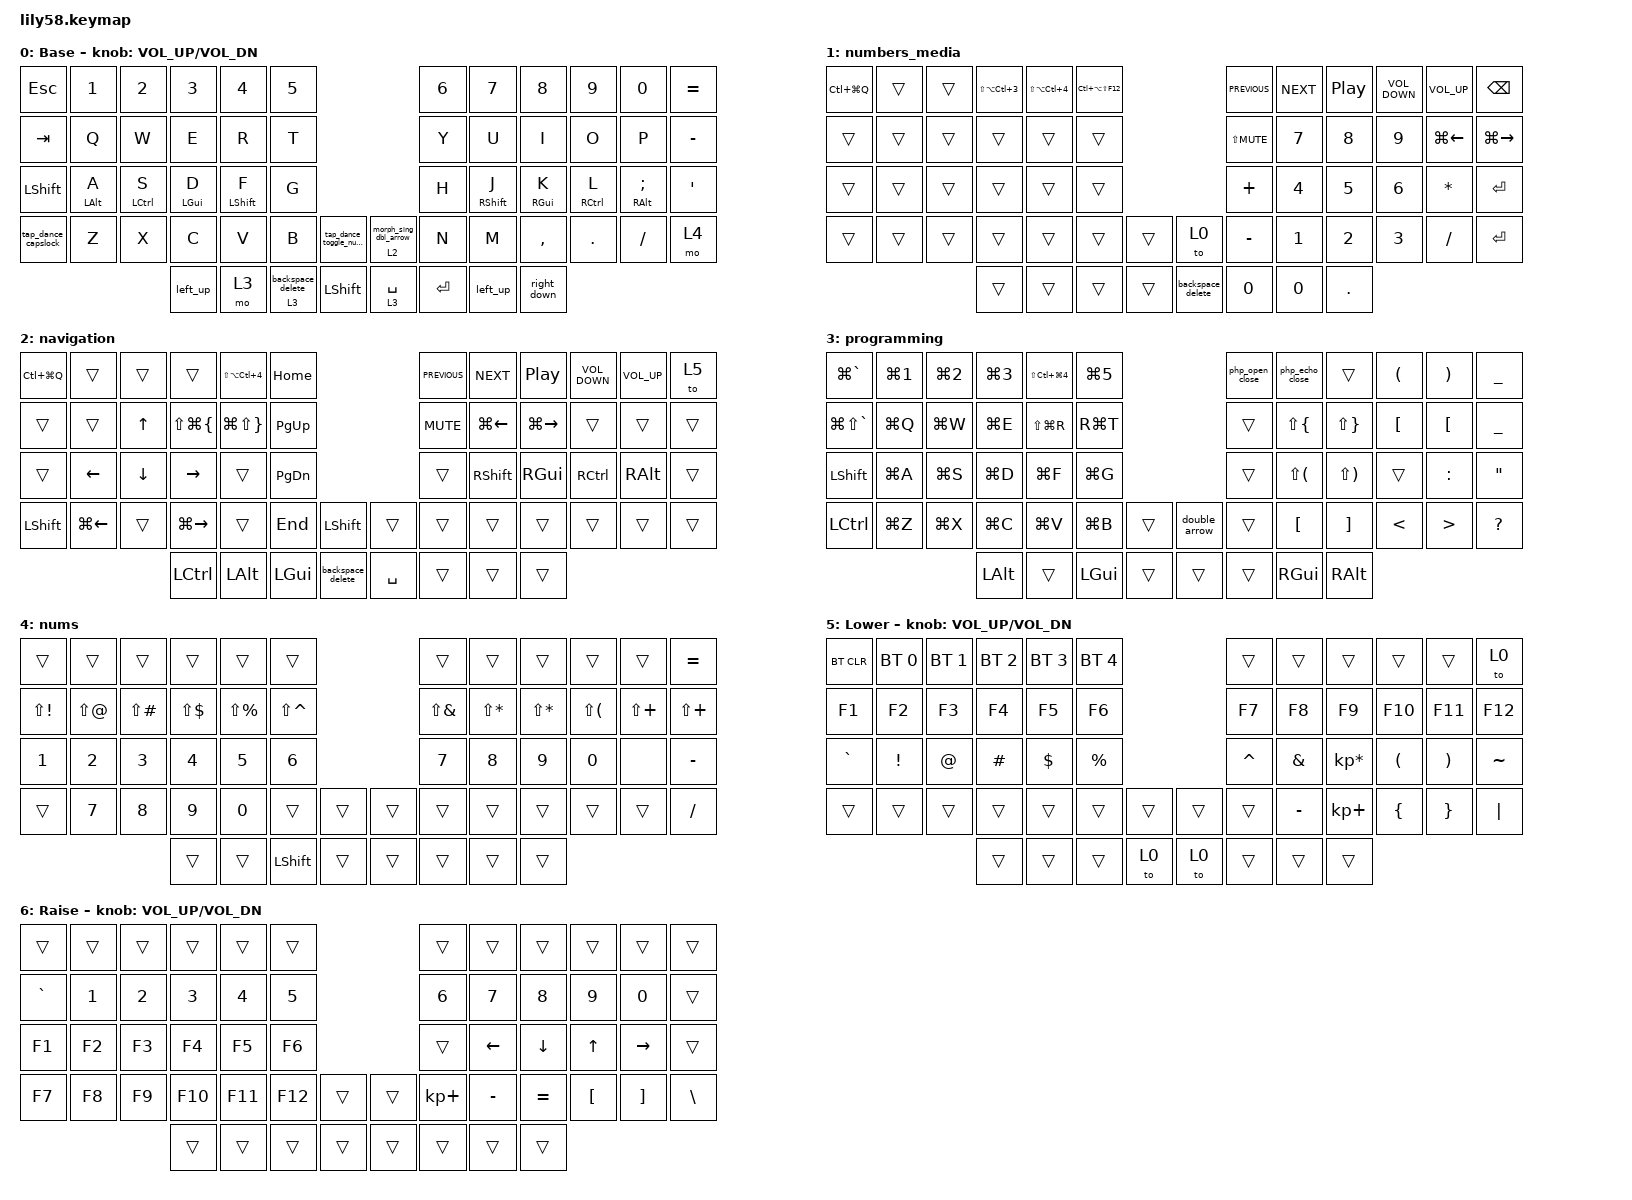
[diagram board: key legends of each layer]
/*
 * Copyright (c) 2020 The ZMK Contributors
 *
 * SPDX-License-Identifier: MIT
 */

#include <behaviors.dtsi>
#include <dt-bindings/zmk/bt.h>
#include <dt-bindings/zmk/keys.h>

&sk {
    release-after-ms = <600>;
    quick-release;
};

&caps_word { continue-list = <UNDERSCORE BACKSPACE DELETE MINUS>; };

&sl {
    release-after-ms = <600>;

    /delete-property/ quick-release;
};

/ {
    macros {
        php_open: php_open {
            compatible = "zmk,behavior-macro";
            #binding-cells = <0>;
            bindings = <&kp LT &kp QMARK &kp P &kp H &kp P &kp RET>;
            label = "PHP_OPEN";
        };

        single_arrow: single_arrow {
            compatible = "zmk,behavior-macro";
            #binding-cells = <0>;
            bindings = <&kp MINUS &kp GT>;
            label = "SINGLE_ARROW";
        };

        double_arrow: double_arrow {
            compatible = "zmk,behavior-macro";
            #binding-cells = <0>;
            bindings = <&kp EQUAL &kp GT>;
            label = "DOUBLE_ARROW";
        };

        function: function {
            compatible = "zmk,behavior-macro";
            #binding-cells = <0>;
            bindings = <&kp F &kp U &kp N &kp C &kp T &kp I &kp O &kp N &kp LPAR &kp RPAR &kp LEFT_ARROW>;
            label = "FUNCTION";
        };

        php_echo: php_echo {
            compatible = "zmk,behavior-macro";
            #binding-cells = <0>;
            bindings = <&kp LT &kp QMARK &kp EQUAL &kp SPACE>;
            label = "PHP_ECHO";
        };

        php_close: php_close {
            compatible = "zmk,behavior-macro";
            #binding-cells = <0>;
            bindings = <&kp QMARK &kp GT>;
            label = "PHP_CLOSE";
        };

        template_output: template_output {
            compatible = "zmk,behavior-macro";
            #binding-cells = <0>;
            bindings = <&kp LEFT_BRACE &kp LEFT_BRACE &kp SPACE &kp SPACE &kp RBRC &kp RBRC &kp LEFT_ARROW &kp LEFT_ARROW &kp LEFT>;
            label = "TEMPLATE_OUTPUT";
        };
    };

    combos {
        compatible = "zmk,combos";

        tilde_grave {
            bindings = <&kp GRAVE>;
            key-positions = <0 1>;
            layers = <0>;
        };

        lh_backspace_delete {
            bindings = <&backspace_delete>;
            key-positions = <10 11>;
            layers = <0>;
        };

        lh_6 {
            bindings = <&kp NUMBER_6>;
            key-positions = <17 29>;
            layers = <0>;
        };

        rh_close_curly_brackets {
            bindings = <&kp RIGHT_BRACE>;
            key-positions = <>;
        };

        rh_close_paren {
            bindings = <&kp RIGHT_PARENTHESIS>;
            key-positions = <>;
        };

        rh_close_sqr_bracket {
            bindings = <&kp RIGHT_BRACKET>;
            key-positions = <>;
        };

        rh_caret {
            bindings = <&kp CARET>;
            key-positions = <18 30>;
        };

        lh_dollar {
            bindings = <&kp DLLR>;
            key-positions = <16 28>;
        };

        backslash_pipe {
            bindings = <&kp BACKSLASH>;
            key-positions = <23 35>;
        };

        pcnt {
            bindings = <&kp PERCENT>;
            key-positions = <29 17>;
        };

        lh_open_sqr_bracket {
            bindings = <&kp LEFT_BRACKET>;
            key-positions = <>;
        };

        lh_open_paren {
            bindings = <&kp LEFT_PARENTHESIS>;
            key-positions = <>;
        };

        lh_open_curly_bracket {
            bindings = <&kp LEFT_BRACE>;
            key-positions = <>;
        };
    };

    behaviors {
        leftHand_hr_mt: leftHand_hr_mt {
            compatible = "zmk,behavior-hold-tap";
            label = "LEFTHAND_HR_MT";
            bindings = <&kp>, <&kp>;

            #binding-cells = <2>;
            tapping-term-ms = <225>;
            quick-tap-ms = <225>;
            flavor = "balanced";
            hold-trigger-key-positions = <6 18 30 44 43 54 55 56 57 7 8 9 19 20 21 31 32 33 45 46 47 10 11 22 23 34 35 48 49>;
            hold-trigger-on-release;
            require-prior-idle-ms = <185>;
        };

        rightHand_hr_mt: rightHand_hr_mt {
            compatible = "zmk,behavior-hold-tap";
            label = "RIGHTHAND_HR_MT";
            bindings = <&kp>, <&kp>;

            #binding-cells = <2>;
            tapping-term-ms = <225>;
            quick-tap-ms = <225>;
            flavor = "balanced";
            hold-trigger-on-release;
            require-prior-idle-ms = <185>;
            hold-trigger-key-positions = <0 1 2 3 4 5 12 13 14 15 16 17 24 25 26 27 28 29 36 37 38 39 40 41 42 50 51 52 53>;
        };

        leftHand_hr_mt_shift: leftHand_hr_mt_shift {
            compatible = "zmk,behavior-hold-tap";
            label = "LEFTHAND_HR_MT_SHIFT";
            bindings = <&kp>, <&kp>;

            #binding-cells = <2>;
            tapping-term-ms = <265>;
            quick-tap-ms = <200>;
            flavor = "balanced";
            hold-trigger-key-positions = <6 18 30 44 43 54 55 56 57 7 8 9 19 20 21 31 32 33 45 46 47 10 11 22 23 34 35 48 49>;
            hold-trigger-on-release;
            require-prior-idle-ms = <115>;
        };

        rightHand_hr_mt_shift: rightHand_hr_mt_shift {
            compatible = "zmk,behavior-hold-tap";
            label = "RIGHTHAND_HR_MT_SHIFT";
            bindings = <&kp>, <&kp>;

            #binding-cells = <2>;
            tapping-term-ms = <165>;
            quick-tap-ms = <200>;
            flavor = "balanced";
            hold-trigger-on-release;
            require-prior-idle-ms = <115>;
            hold-trigger-key-positions = <0 1 2 3 4 5 12 13 14 15 16 17 24 25 26 27 28 29 36 37 38 39 40 41 42 50 51 52 53>;
        };

        backspace_delete: backspace_delete {
            compatible = "zmk,behavior-mod-morph";
            label = "BACKSPACE_DELETE";
            bindings = <&kp BACKSPACE>, <&kp DELETE>;

            #binding-cells = <0>;
            mods = <(MOD_LSFT|MOD_RSFT)>;
        };

        td_lshift_capsword: td_lshift_capsword {
            compatible = "zmk,behavior-tap-dance";
            label = "TD_LSHIFT_CAPSWORD";
            #binding-cells = <0>;
            bindings = <&sk LSHIFT>, <&caps_word>;

            tapping-term-ms = <275>;
        };

        left_up: left_up {
            compatible = "zmk,behavior-mod-morph";
            label = "LEFT_UP";
            bindings = <&kp LEFT>, <&kp UP_ARROW>;

            #binding-cells = <0>;
            mods = <(MOD_LSFT|MOD_RSFT)>;
        };

        right_down: right_down {
            compatible = "zmk,behavior-mod-morph";
            label = "RIGHT_DOWN";
            bindings = <&kp RIGHT>, <&kp DOWN>;

            #binding-cells = <0>;
            mods = <(MOD_LSFT|MOD_RSFT)>;
        };

        tap_dance_toggle_numbers: tap_dance_toggle_numbers {
            compatible = "zmk,behavior-tap-dance";
            label = "TAP_DANCE_TOGGLE_NUMBERS";
            #binding-cells = <0>;
            bindings = <&mo 1>, <&mo 1>, <&to 1>;

            tapping-term-ms = <275>;
        };

        th_layer_shift_capsword: th_layer_shift_capsword {
            compatible = "zmk,behavior-hold-tap";
            label = "TH_LAYER_SHIFT_CAPSWORD";
            bindings = <&mo>, <&td_lshift_capsword>;

            #binding-cells = <2>;
            flavor = "tap-preferred";
            tapping-term-ms = <200>;
        };

        morph_sing_dbl_arrow: morph_sing_dbl_arrow {
            compatible = "zmk,behavior-mod-morph";
            label = "MORPH_SING_DBL_ARROW";
            bindings = <&single_arrow>, <&double_arrow>;

            #binding-cells = <0>;
            mods = <(MOD_LSFT|MOD_RSFT)>;
        };

        th_arrow_layer: th_arrow_layer {
            compatible = "zmk,behavior-hold-tap";
            label = "TH_ARROW_LAYER";
            bindings = <&mo>, <&morph_sing_dbl_arrow>;

            #binding-cells = <2>;
            tapping-term-ms = <225>;
            flavor = "tap-preferred";
        };

        morph_parens: morph_parens {
            compatible = "zmk,behavior-mod-morph";
            label = "MORPH_PARENS";
            bindings = <&kp LEFT_PARENTHESIS>, <&kp RIGHT_PARENTHESIS>;

            #binding-cells = <0>;
            mods = <(MOD_LSFT|MOD_RSFT)>;
        };

        morph_sqr_brackets: morph_sqr_brackets {
            compatible = "zmk,behavior-mod-morph";
            label = "MORPH_SQR_BRACKETS";
            bindings = <&kp LEFT_BRACKET>, <&kp RIGHT_BRACKET>;

            #binding-cells = <0>;
            mods = <(MOD_LSFT|MOD_RSFT)>;
        };

        morph_curly_brackets: morph_curly_brackets {
            compatible = "zmk,behavior-mod-morph";
            label = "MORPH_CURLY_BRACKETS";
            bindings = <&kp LEFT_BRACE>, <&kp RIGHT_BRACE>;

            #binding-cells = <0>;
            mods = <(MOD_LSFT|MOD_RSFT)>;
        };

        tap_skshift_td_cword_hkpshift: tap_skshift_td_cword_hkpshift {
            compatible = "zmk,behavior-hold-tap";
            label = "TAP_SKSHIFT_TD_CWORD_HKPSHIFT";
            bindings = <&kp>, <&td_lshift_capsword>;

            #binding-cells = <2>;
            tapping-term-ms = <179>;
            flavor = "tap-preferred";
        };

        php_open_close: php_open_close {
            compatible = "zmk,behavior-mod-morph";
            label = "PHP_OPEN_CLOSE";
            bindings = <&php_open>, <&php_close>;

            #binding-cells = <0>;
            mods = <(MOD_LSFT|MOD_RSFT)>;
        };

        php_echo_close: php_echo_close {
            compatible = "zmk,behavior-mod-morph";
            label = "PHP_ECHO_CLOSE";
            bindings = <&php_echo>, <&php_close>;

            #binding-cells = <0>;
            mods = <(MOD_LSFT|MOD_RSFT)>;
        };

        tap_dance_capslock: tap_dance_capslock {
            compatible = "zmk,behavior-tap-dance";
            label = "TAP_DANCE_CAPSLOCK";
            #binding-cells = <0>;
            bindings = <&kp LSHIFT>, <&kp CAPSLOCK>;

            tapping-term-ms = <230>;
        };

        td_morph_sqr_brkt: td_morph_sqr_brkt {
            compatible = "zmk,behavior-tap-dance";
            label = "TD_MORPH_SQR_BRKT";
            #binding-cells = <0>;
            bindings = <&morph_sqr_brackets>, <&kp RIGHT_BRACKET>;
        };

        td_morph_curly_brkt: td_morph_curly_brkt {
            compatible = "zmk,behavior-tap-dance";
            label = "TD_MORPH_CURLY_BRKT";
            #binding-cells = <0>;
            bindings = <&morph_curly_brackets>, <&kp RIGHT_BRACE>;
        };

        td_morph_parens: td_morph_parens {
            compatible = "zmk,behavior-tap-dance";
            label = "TD_MORPH_PARENS";
            #binding-cells = <0>;
            bindings = <&morph_parens>, <&kp RIGHT_PARENTHESIS>;
        };

        tap_bspace_hold_layer3: tap_bspace_hold_layer3 {
            compatible = "zmk,behavior-hold-tap";
            label = "TAP_BSPACE_HOLD_LAYER3";
            bindings = <&mo>, <&backspace_delete>;

            #binding-cells = <2>;
            tapping-term-ms = <155>;
            quick-tap-ms = <125>;
            flavor = "tap-preferred";
        };

        th_space_layer: th_space_layer {
            compatible = "zmk,behavior-hold-tap";
            label = "TH_SPACE_LAYER";
            bindings = <&mo>, <&kp>;

            #binding-cells = <2>;
            tapping-term-ms = <155>;
            quick-tap-ms = <125>;
            flavor = "tap-preferred";
        };
    };

    keymap {
        compatible = "zmk,keymap";

        default_layer {
            // ------------------------------------------------------------------------------------------------------------
            // |  ESC  |  1  |  2  |  3   |  4   |  5   |                   |  6   |  7    |  8    |  9   |   0   |   `   |
            // |  TAB  |  Q  |  W  |  E   |  R   |  T   |                   |  Y   |  U    |  I    |  O   |   P   |   -   |
            // |  CTRL |  A  |  S  |  D   |  F   |  G   |                   |  H   |  J    |  K    |  L   |   ;   |   '   |
            // | SHIFT |  Z  |  X  |  C   |  V   |  B   |   "["  |  |  "]"  |  N   |  M    |  ,    |  .   |   /   | SHIFT |
            //                     | ALT  | GUI  | LOWER|  SPACE |  | ENTER | RAISE| BSPC  | GUI   |

            display-name = "Base";
            bindings = <
&kp ESC              &kp N1                      &kp N2                   &kp N3                      &kp N4                          &kp N5                                                                             &kp N6     &kp N7                                &kp N8                   &kp N9                    &kp N0                                &kp EQUAL
&kp TAB              &kp Q                       &kp W                    &kp E                       &kp R                           &kp T                                                                              &kp Y      &kp U                                 &kp I                    &kp O                     &kp P                                 &kp MINUS
&kp LSHIFT           &leftHand_hr_mt LEFT_ALT A  &leftHand_hr_mt LCTRL S  &leftHand_hr_mt LEFT_GUI D  &leftHand_hr_mt_shift LSHIFT F  &kp G                                                                              &kp H      &rightHand_hr_mt_shift RIGHT_SHIFT J  &rightHand_hr_mt RGUI K  &rightHand_hr_mt RCTRL L  &rightHand_hr_mt RIGHT_ALT SEMICOLON  &kp SQT
&tap_dance_capslock  &kp Z                       &kp X                    &kp C                       &kp V                           &kp B                        &tap_dance_toggle_numbers    &th_arrow_layer 2 0      &kp N      &kp M                                 &kp COMMA                &kp DOT                   &kp FSLH                              &mo 4
                                                                          &left_up                    &mo 3                           &tap_bspace_hold_layer3 3 0  &kp LSHIFT                   &th_space_layer 3 SPACE  &kp ENTER  &left_up                              &right_down
            >;

            sensor-bindings = <&inc_dec_kp C_VOL_UP C_VOL_DN>;
        };

        numbers_media {
            bindings = <
&kp LC(LG(Q))  &trans  &trans  &kp LS(LA(LC(NUMBER_3)))  &kp LS(LA(LC(NUMBER_4)))  &kp LC(LA(LS(F12)))                               &kp C_PREVIOUS  &kp C_NEXT  &kp C_PP  &kp C_VOLUME_DOWN  &kp C_VOLUME_UP  &kp BSPC
&trans         &trans  &trans  &trans                    &trans                    &trans                                            &kp LS(C_MUTE)  &kp N7      &kp N8    &kp N9             &kp LG(LEFT)     &kp LG(RIGHT_ARROW)
&trans         &trans  &trans  &trans                    &trans                    &trans                                            &kp PLUS        &kp N4      &kp N5    &kp N6             &kp STAR         &kp ENTER
&trans         &trans  &trans  &trans                    &trans                    &trans               &trans    &to 0              &kp MINUS       &kp N1      &kp N2    &kp N3             &kp SLASH        &kp ENTER
                               &trans                    &trans                    &trans               &trans    &backspace_delete  &kp N0          &kp N0      &kp DOT
            >;
        };

        navigation {
            bindings = <
&kp LC(LG(Q))   &trans        &trans    &trans                  &kp LS(LA(LC(NUMBER_4)))  &kp HOME                                       &kp C_PREVIOUS  &kp C_NEXT    &kp C_PLAY_PAUSE  &kp C_VOLUME_DOWN  &kp C_VOLUME_UP  &to 5
&trans          &trans        &kp UP    &kp LS(LG(LEFT_BRACE))  &kp LG(LS(RIGHT_BRACE))   &kp PAGE_UP                                    &kp C_MUTE      &kp LG(LEFT)  &kp LG(RIGHT)     &trans             &trans           &trans
&trans          &kp LEFT      &kp DOWN  &kp RIGHT               &trans                    &kp PAGE_DOWN                                  &trans          &kp RSHIFT    &kp RIGHT_GUI     &kp RCTRL          &kp RIGHT_ALT    &trans
&kp LEFT_SHIFT  &kp LG(LEFT)  &trans    &kp LG(RIGHT)           &trans                    &kp END        &kp LSHIFT           &trans     &trans          &trans        &trans            &trans             &trans           &trans
                                        &kp LCTRL               &kp LEFT_ALT              &kp LEFT_GUI   &backspace_delete    &kp SPACE  &trans          &trans        &trans
            >;
        };

        programming {
            bindings = <
&kp LG(GRAVE)      &kp LG(NUMBER_1)  &kp LG(NUMBER_2)  &kp LG(NUMBER_3)  &kp LS(LC(LG(NUMBER_4)))  &kp LG(N5)                           &php_open_close  &php_echo_close  &trans        &kp LEFT_PARENTHESIS  &kp RIGHT_PARENTHESIS  &kp UNDER
&kp LG(LS(GRAVE))  &kp LG(Q)         &kp LG(W)         &kp LG(E)         &kp LS(LG(R))             &kp RG(T)                            &trans           &kp LS(LBRC)     &kp LS(RBRC)  &kp LEFT_BRACKET      &kp LEFT_BRACKET       &kp UNDERSCORE
&kp LSHIFT         &kp LG(A)         &kp LG(S)         &kp LG(D)         &kp LG(F)                 &kp LG(G)                            &trans           &kp LS(LPAR)     &kp LS(RPAR)  &trans                &kp COLON              &kp DOUBLE_QUOTES
&kp LCTRL          &kp LG(Z)         &kp LG(X)         &kp LG(C)         &kp LG(V)                 &kp LG(B)   &trans    &double_arrow  &trans           &kp LBKT         &kp RBKT      &kp LESS_THAN         &kp GREATER_THAN       &kp QUESTION
                                                       &kp LEFT_ALT      &trans                    &kp LGUI    &trans    &trans         &trans           &kp RGUI         &kp RALT
            >;
        };

        nums {
            bindings = <
&trans        &trans      &trans         &trans        &trans         &trans                           &trans        &trans        &trans        &trans        &trans        &kp EQUAL
&kp LS(EXCL)  &kp LS(AT)  &kp LS(POUND)  &kp LS(DLLR)  &kp LS(PRCNT)  &kp LS(CARET)                    &kp LS(AMPS)  &kp LS(STAR)  &kp LS(STAR)  &kp LS(LPAR)  &kp LS(PLUS)  &kp LS(PLUS)
&kp N1        &kp N2      &kp N3         &kp N4        &kp N5         &kp N6                           &kp N7        &kp N8        &kp N9        &kp N0        &none         &kp MINUS
&trans        &kp N7      &kp N8         &kp N9        &kp N0         &trans         &trans    &trans  &trans        &trans        &trans        &trans        &trans        &kp FSLH
                                         &trans        &trans         &kp LSHFT      &trans    &trans  &trans        &trans        &trans
            >;
        };

        lower_layer {
            // ------------------------------------------------------------------------------------------------------------
            // | BTCLR | BT1 | BT2 |  BT3 |  BT4 |  BT5 |                   |      |       |       |      |       |       |
            // |  F1   |  F2 |  F3 |  F4  |  F5  |  F6  |                   |  F7  |  F8   |  F9   |  F10 |  F11  |  F12  |
            // |   `   |  !  |  @  |  #   |  $   |  %   |                   |  ^   |  &    |  *    |  (   |   )   |   ~   |
            // |       |     |     |      |      |      |        |  |       |      |  _    |  +    |  {   |   }   |  "|"  |
            //                     |      |      |      |        |  |       |      |       |       |

            display-name = "Lower";
            bindings = <
&bt BT_CLR  &bt BT_SEL 0  &bt BT_SEL 1  &bt BT_SEL 2  &bt BT_SEL 3  &bt BT_SEL 4                    &trans     &trans     &trans           &trans    &trans    &to 0
&kp F1      &kp F2        &kp F3        &kp F4        &kp F5        &kp F6                          &kp F7     &kp F8     &kp F9           &kp F10   &kp F11   &kp F12
&kp GRAVE   &kp EXCL      &kp AT        &kp HASH      &kp DOLLAR    &kp PRCNT                       &kp CARET  &kp AMPS   &kp KP_MULTIPLY  &kp LPAR  &kp RPAR  &kp TILDE
&trans      &trans        &trans        &trans        &trans        &trans        &trans    &trans  &trans     &kp MINUS  &kp KP_PLUS      &kp LBRC  &kp RBRC  &kp PIPE
                                        &trans        &trans        &trans        &to 0     &to 0   &trans     &trans     &trans
            >;

            sensor-bindings = <&inc_dec_kp C_VOL_UP C_VOL_DN>;
        };

        raise_layer {
            // ------------------------------------------------------------------------------------------------------------
            // |       |     |     |      |      |      |                   |      |       |       |      |       |       |
            // |   `   |  1  |  2  |  3   |  4   |  5   |                   |  6   |   7   |   8   |  9   |   0   |       |
            // |   F1  |  F2 |  F3 |  F4  |  F5  |  F6  |                   |      |   <-  |   v   |  ^   |  ->   |       |
            // |   F7  |  F8 |  F9 |  F10 |  F11 |  F12 |        |  |       |  +   |   -   |   =   |  [   |   ]   |   \   |
            //                     |      |      |      |        |  |       |      |       |       |

            display-name = "Raise";
            bindings = <
&trans     &trans  &trans  &trans   &trans   &trans                     &trans       &trans     &trans     &trans    &trans     &trans
&kp GRAVE  &kp N1  &kp N2  &kp N3   &kp N4   &kp N5                     &kp N6       &kp N7     &kp N8     &kp N9    &kp N0     &trans
&kp F1     &kp F2  &kp F3  &kp F4   &kp F5   &kp F6                     &trans       &kp LEFT   &kp DOWN   &kp UP    &kp RIGHT  &trans
&kp F7     &kp F8  &kp F9  &kp F10  &kp F11  &kp F12  &trans    &trans  &kp KP_PLUS  &kp MINUS  &kp EQUAL  &kp LBKT  &kp RBKT   &kp BSLH
                           &trans   &trans   &trans   &trans    &trans  &trans       &trans     &trans
            >;

            sensor-bindings = <&inc_dec_kp C_VOL_UP C_VOL_DN>;
        };
    };
};
